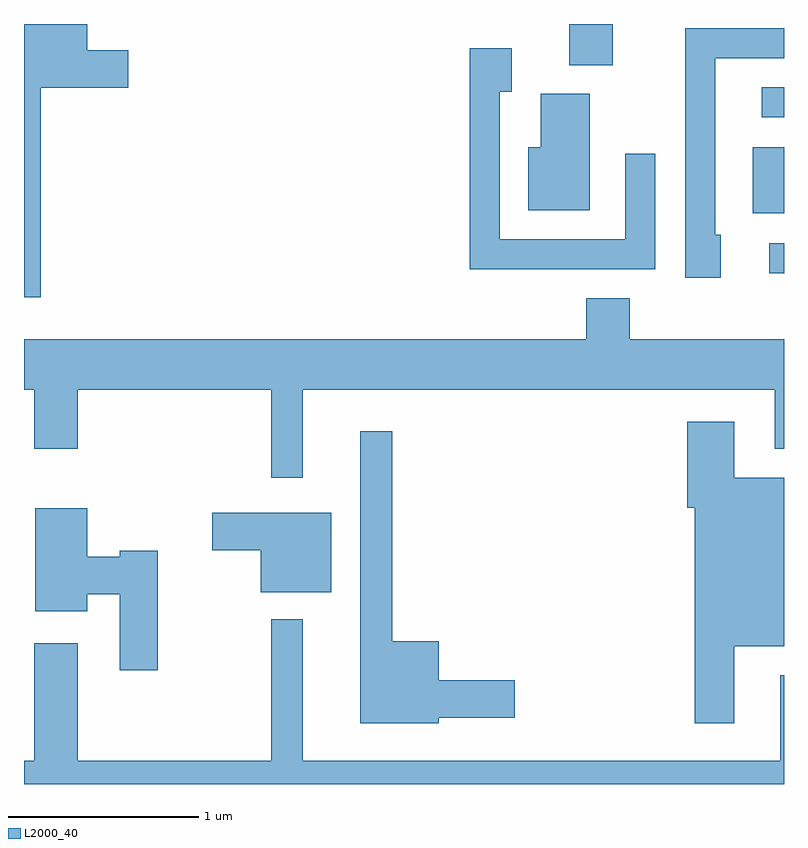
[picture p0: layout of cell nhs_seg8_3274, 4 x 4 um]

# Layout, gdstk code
import gdstk
lib = gdstk.Library(unit=1e-6, precision=1e-09)
def R(c, l, rs):  # rectangles x0, y0, x1, y1
    for r in rs: c.add(gdstk.rectangle(r[:2], r[2:], *l))
def P(c, l, *ps):  # polygons
    for p in ps: c.add(gdstk.Polygon(p, *l))
L2000_40 = (2000, 40)

nhs_seg8_3274 = lib.new_cell('nhs_seg8_3274')
R(nhs_seg8_3274, L2000_40, [(287.533,1837.031,287.611,1837.189), (287.446,1837.346,287.611,1837.694), (287.493,1837.851,287.611,1838.009), (286.481,1838.126,286.709,1838.342)])
P(nhs_seg8_3274, L2000_40, [(283.699,1838.006),(284.159,1838.006),(284.159,1838.204),(283.944,1838.204),(283.944,1838.342),(283.611,1838.342),(283.611,1836.903),(283.699,1836.903)],
  [(287.279,1837.234),(287.249,1837.234),(287.249,1838.161),(287.611,1838.161),(287.611,1838.319),(287.091,1838.319),(287.091,1837.006),(287.279,1837.006)],
  [(286.934,1837.658),(286.776,1837.658),(286.776,1837.209),(286.114,1837.209),(286.114,1837.986),(286.179,1837.986),(286.179,1838.214),(285.956,1838.214),(285.956,1837.051),(286.934,1837.051)],
  [(286.589,1837.974),(286.331,1837.974),(286.331,1837.694),(286.266,1837.694),(286.266,1837.361),(286.589,1837.361)],
  [(285.079,1836.416),(287.561,1836.416),(287.561,1836.106),(287.611,1836.106),(287.611,1836.684),(286.799,1836.684),(286.799,1836.899),(286.571,1836.899),(286.571,1836.684),(283.611,1836.684),(283.611,1836.416),(283.666,1836.416),(283.666,1836.106),(283.894,1836.106),(283.894,1836.416),(284.911,1836.416),(284.911,1835.953),(285.079,1835.953)],
  [(287.349,1835.066),(287.611,1835.066),(287.611,1835.954),(287.349,1835.954),(287.349,1836.249),(287.101,1836.249),(287.101,1835.796),(287.141,1835.796),(287.141,1834.661),(287.349,1834.661)],
  [(285.794,1834.691),(286.194,1834.691),(286.194,1834.889),(285.794,1834.889),(285.794,1835.094),(285.549,1835.094),(285.549,1836.198),(285.381,1836.198),(285.381,1834.661),(285.794,1834.661)],
  [(284.314,1835.569),(284.116,1835.569),(284.116,1835.539),(283.944,1835.539),(283.944,1835.794),(283.671,1835.794),(283.671,1835.251),(283.944,1835.251),(283.944,1835.341),(284.116,1835.341),(284.116,1834.941),(284.314,1834.941)],
  [(285.229,1835.769),(284.601,1835.769),(284.601,1835.571),(284.856,1835.571),(284.856,1835.351),(285.229,1835.351)],
  [(287.611,1834.914),(287.591,1834.914),(287.591,1834.464),(285.079,1834.464),(285.079,1835.208),(284.911,1835.208),(284.911,1834.464),(283.894,1834.464),(283.894,1835.084),(283.666,1835.084),(283.666,1834.464),(283.611,1834.464),(283.611,1834.342),(287.611,1834.342)])

lib.write_gds('nhs_seg8_3274.gds')
